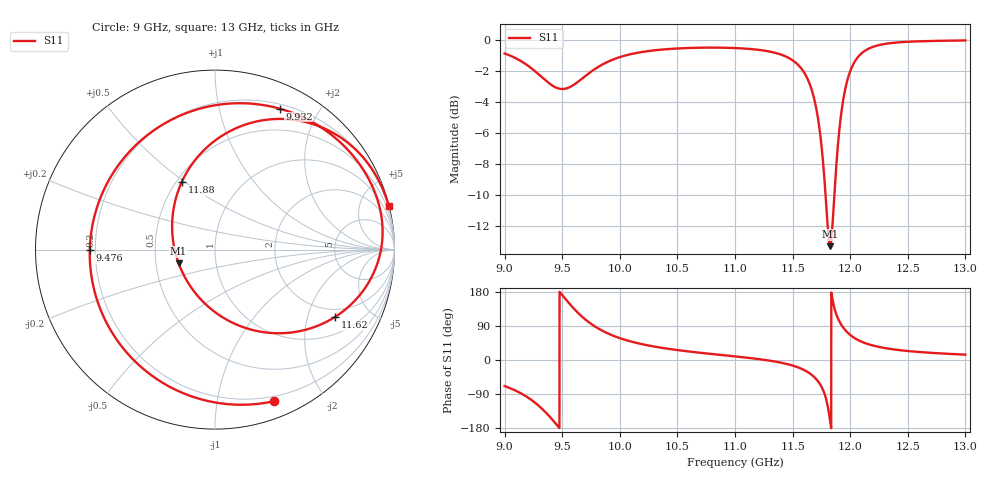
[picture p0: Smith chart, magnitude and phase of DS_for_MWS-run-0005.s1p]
! TOUCHSTONE file generated by CST DESIGN STUDIO
! Date and time: Tue Feb  4 17:35:09 2025
! Project name: C:\Work\MatlabApps\UnitCellOptimizationMatlab\CST\unitcell.cst
! Tree item: Tasks\Sweep1\SPara1\S-Parameters
! Header version: 2024
! Port assignment regex: !\s*Touchstone port\s*([0-9]+)\s*=\s*(CST MWS port|CST DES external port|CST DES block port)\s*(.+)\s* \(\"(.*)\"\)(\s*mode\s*([0-9]+))?.*
! Touchstone port assignment:
! Touchstone port 1 = CST DES external port 1 ("")
# GHz S MA R 50
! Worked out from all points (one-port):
!   4001 points, 9 GHz to 13 GHz, reference 50 ohm
!   lowest |S11| = -13.3 dB at 11.82 GHz (marker M1), VSWR 1.55, Z = 32.8 - j5.2 ohm
!   |S11| at or under -10 dB: 11.79 GHz to 11.86 GHz (76.13 MHz wide, 0.644 % of centre)
!   S11 on the Smith chart (normalised r, x): 9 GHz: 0.15, -1.45; 9.476 GHz: 0.18, -0.00; 9.932 GHz: 0.25, +1.53; 11.62 GHz: 1.65, -3.00; 11.88 GHz: 0.53, +0.49; 13 GHz: 0.04, +8.04
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9  0.9065 -68.8
9.15  0.8532 -89.4
9.261  0.7963 -111.9
9.385  0.727 -147.3
9.476  0.6978 -179.7
9.5  0.6963 171.4
9.602  0.7189 135.4
9.694  0.7631 108.6
9.797  0.8136 86.0
9.932  0.864 65.4
10  0.8824 57.7
10.215  0.9193 40.3
10.5  0.9409 26.2
11  0.9439 9.5
11.31  0.918 -2.2
11.5  0.8618 -14.6
11.617  0.7674 -29.2
11.68  0.6635 -42.8
11.741  0.4923 -65.3
11.783  0.3291 -94.5
11.825  0.2165 -159.6
11.885  0.4205 116.0
11.939  0.6407 85.8
12  0.7944 66.2
12.08  0.8938 50.8
12.179  0.9466 39.7
12.5  0.989 23.7
13  0.9987 14.2
